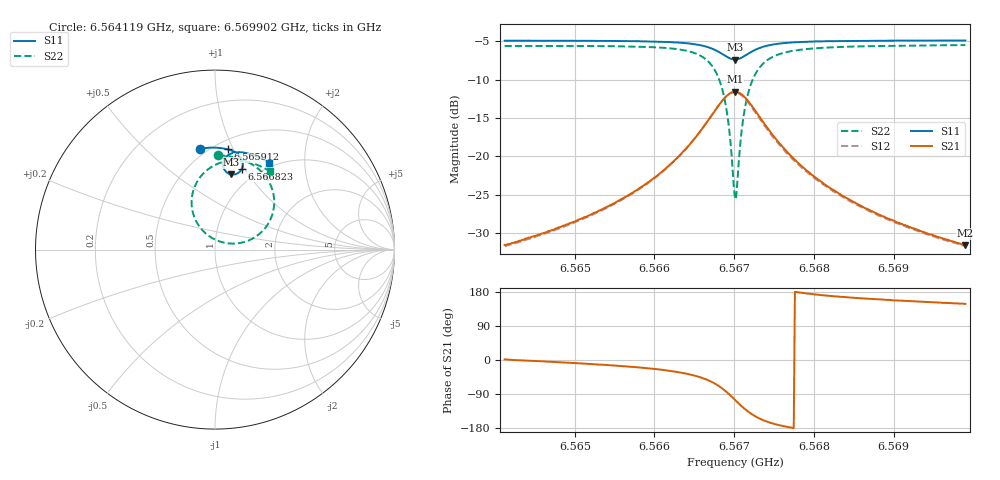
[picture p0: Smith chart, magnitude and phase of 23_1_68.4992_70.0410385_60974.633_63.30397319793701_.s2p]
#  HZ  S  RI  R  50.00
! Rohde & Schwarz Vector Network Analyzer
! Rohde-Schwarz,ZNB20-2Port,1311601062101988,3.16
! Created: UTC 3/20/2024, 5:04:45 PM
! freq[Hz]  re:S11  im:S11  re:S21  im:S21  re:S12  im:S12  re:S22  im:S22
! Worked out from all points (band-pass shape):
!   401 points, 6.564119 GHz to 6.569902 GHz, reference 50 ohm
!   highest |S21| = -11.57 dB at 6.567011 GHz (marker M1); lowest = -31.6 dB at 6.569902 GHz (marker M2)
!   |S21| within 3 dB of the highest: 6.566723 GHz to 6.5673 GHz (576.7 kHz wide, 0.00878 % of centre)
!   lowest |S11| = -7.4 dB at 6.567011 GHz (marker M3), VSWR 2.50, Z = 40.5 + j41.7 ohm
!   |S11| at or under -10 dB: nowhere
!   |S22| runs from -25.6 to -5.5 dB; largest |S21 - S12| = 0.012
!   S11 on the Smith chart (normalised r, x): 6.564119 GHz: 0.46, +0.76; 6.565912 GHz: 0.58, +0.95; 6.566823 GHz: 0.84, +0.97; 6.569902 GHz: 0.94, +1.34
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6.5641194e9  -0.081 0.5632  0.0264 0.00062  0.0259 8.11e-06  0.0178 0.5246
6.5650879e9  -0.00277 0.568  0.0388 -0.00641  0.038 -0.00668  0.1066 0.5142
6.5659119e9  0.0718 0.5583  0.0624 -0.0249  0.0613 -0.0255  0.206 0.4751
6.5660565e9  0.0864 0.5538  0.0694 -0.0322  0.0683 -0.0331  0.2286 0.4599
6.5663745e9  0.1218 0.5358  0.0893 -0.0626  0.0881 -0.0637  0.2872 0.4003
6.5665914e9  0.1462 0.5089  0.1025 -0.109  0.1003 -0.111  0.3253 0.3105
6.5667215e9  0.1549 0.4806  0.0986 -0.1582  0.0946 -0.161  0.3247 0.2165
6.5668227e9  0.15 0.4512  0.0726 -0.2087  0.0662 -0.2115  0.2805 0.1214
6.5669094e9  0.1297 0.4273  0.021 -0.2481  0.0115 -0.2486  0.1868 0.0506
6.5669383e9  0.1192 0.4219  -0.00298 -0.2558  -0.013 -0.2553  0.1438 0.0376
6.5669961e9  0.0948 0.4184  -0.056 -0.2574  -0.0665 -0.2533  0.0496 0.0388
6.5670106e9  0.0886 0.4193  -0.0693 -0.2548  -0.0797 -0.2494  0.0265 0.0453
6.5670395e9  0.0766 0.4234  -0.0949 -0.2452  -0.1043 -0.238  -0.0172 0.0651
6.5670973e9  0.0574 0.4384  -0.1363 -0.2132  -0.143 -0.2038  -0.0848 0.1259
6.5671407e9  0.0487 0.4531  -0.1564 -0.1835  -0.1606 -0.1732  -0.115 0.1806
6.5671985e9  0.0448 0.4734  -0.169 -0.1432  -0.1704 -0.1336  -0.1302 0.2519
6.5672708e9  0.0488 0.4953  -0.169 -0.1005  -0.1679 -0.0922  -0.1216 0.3261
6.567531e9  0.0879 0.5343  -0.1265 -0.0215  -0.1239 -0.0182  -0.0253 0.4569
6.5679791e9  0.1466 0.5421  -0.0752 0.00807  -0.0733 0.0092  0.0953 0.4965
6.5683983e9  0.188 0.5347  -0.0522 0.0133  -0.051 0.0137  0.1624 0.4928
6.5689477e9  0.2337 0.5192  -0.0363 0.0144  -0.0354 0.0146  0.2245 0.4763
6.5699018e9  0.3027 0.484  -0.0223 0.0139  -0.0218 0.014  0.3044 0.4372
